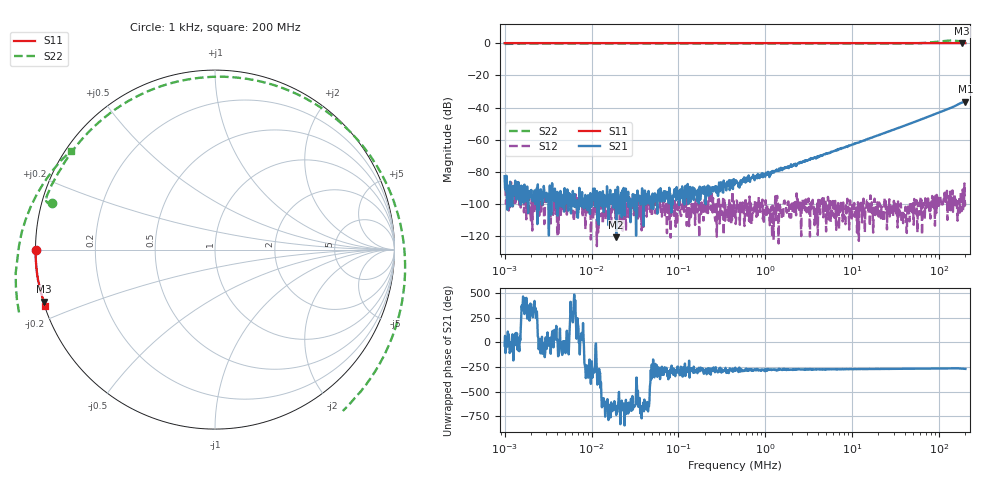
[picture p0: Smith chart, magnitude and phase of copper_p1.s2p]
! ListType=Log
# MHZ S RI R 50
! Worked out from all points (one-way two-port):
!   1000 points, 1 kHz to 200 MHz, reference 50 ohm
!   highest |S21| = -36.24 dB at 200 MHz (marker M1); lowest = -120.5 dB at 19.24 kHz (marker M2)
!   lowest |S11| = 0.0 dB at 183.6 MHz (marker M3), VSWR 727.63, Z = 0.0702 - j7.46 ohm
!   |S11| at or under -10 dB: nowhere
!   |S22| runs from -0.5 to 1.7 dB; largest |S21 - S12| = 0.015
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0.001  -0.9983 -0.000457  6.14e-05 -4.19e-05  -1.15e-05 -2.99e-05  -0.9089 0.26
0.0076941  -0.9992 -8.45e-05  -6e-07 8.4e-06  -2.1e-06 8.4e-06  -0.9422 0.2759
0.0192368  -0.9991 -0.00025  9e-07 -3e-07  2e-06 8e-07  -0.9425 0.2833
0.0584804  -0.9992 -0.000142  7.6e-06 2.37e-05  1.1e-06 -7.5e-06  -0.9406 0.2882
0.4499541  -0.9992 -0.000865  -1.12e-05 5.31e-05  1.8e-06 7.1e-06  -0.9349 0.303
1.195845  -0.9992 -0.00219  1.14e-05 9.52e-05  9e-07 4e-07  -0.9238 0.3284
3.419952  -0.9994 -0.00585  2e-05 0.000255  -1.8e-06 -7.2e-06  -0.8867 0.4028
12.03851  -0.9996 -0.0201  4.8e-05 0.000835  -7.5e-06 -3e-07  -0.7122 0.6466
26.31347  -0.9992 -0.0433  3.77e-05 0.00181  3.6e-06 -3.5e-06  -0.3118 0.9064
39.38105  -0.9984 -0.0644  -3.83e-05 0.0027  -1.9e-06 3.4e-06  0.1201 0.9587
52.80066  -0.9968 -0.086  -9.85e-05 0.00363  1.9e-06 -7e-06  0.5492 0.8169
67.41648  -0.9945 -0.1094  -0.000207 0.00468  2.4e-06 -9.8e-06  0.9034 0.4633
87.1363  -0.9904 -0.1408  -0.000342 0.00613  4.8e-06 -4.1e-06  1.054 -0.2074
97.2649  -0.9879 -0.1568  -0.000404 0.00686  -4e-07 -1.04e-05  0.9559 -0.561
107.2524  -0.9854 -0.1725  -0.000513 0.00761  -1.6e-06 -8.5e-06  0.7458 -0.8653
121.191  -0.9807 -0.1941  -0.000611 0.00865  -9.6e-06 -1.37e-05  0.3112 -1.139
133.6352  -0.9761 -0.2132  -0.000755 0.00957  -2.39e-05 -5.9e-06  -0.1491 -1.193
145.5678  -0.9717 -0.232  -0.000948 0.0106  5.8e-06 -1.22e-05  -0.5687 -1.06
160.5151  -0.9647 -0.2549  -0.00117 0.012  1.4e-06 -6.5e-06  -0.963 -0.685
172.7245  -0.9592 -0.2738  -0.000987 0.0134  4.6e-06 -3e-06  -1.104 -0.2774
183.6055  -0.9539 -0.291  -0.000602 0.0144  -1.15e-05 -1.4e-06  -1.077 0.0955
200  -0.9472 -0.3167  7.27e-05 0.0154  -1.29e-05 -6.6e-06  -0.8026 0.5506
